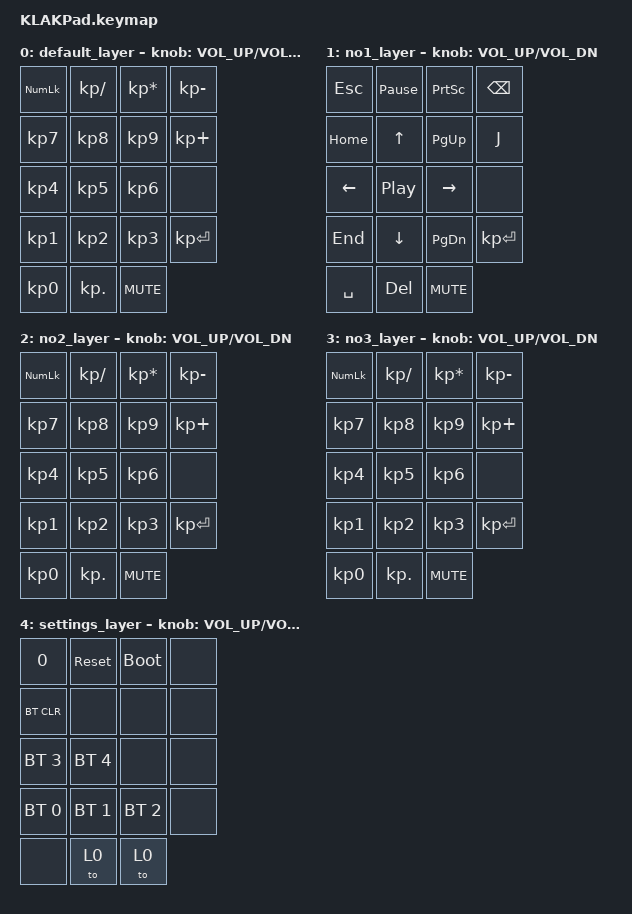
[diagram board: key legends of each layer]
/*
 * Copyright (c) 2022 The ZMK Contributors
 *
 * SPDX-License-Identifier: MIT
 */

#include <behaviors.dtsi>
#include <dt-bindings/zmk/keys.h>
#include <dt-bindings/zmk/bt.h>
#include <dt-bindings/zmk/outputs.h>

#define TIMEOUT 50

&encoder_1 {
    status = "okay";
};

/ {
    combos {
        compatible = "zmk,combos";
        combo_layer0 {
            timeout-ms = <TIMEOUT>;
            key-positions = <0 16>;
            bindings = <&to 0>;
        };
        combo_layer1 {
            timeout-ms = <TIMEOUT>;
            key-positions = <0 12 16>;
            bindings = <&to 1>;
        };
        combo_layer2 {
            timeout-ms = <TIMEOUT>;
            key-positions = <0 8 16>;
            bindings = <&to 2>;
        };
        combo_layer3 {
            timeout-ms = <TIMEOUT>;
            key-positions = <0 4 16>;
            bindings = <&to 3>;
        };
        combo_layer4 {  // Settings Layer
            timeout-ms = <TIMEOUT>;
            key-positions = <0 3 15 16>;
            bindings = <&to 4>;
        };
    };

    sensors {
        compatible = "zmk,keymap-sensors";
        sensors = <&encoder_1>;
        triggers-per-rotation = <20>;
    };

    keymap {
        compatible = "zmk,keymap";

//             0                1                 2                3
//             4                5                 6                7
//             8                9                 10               11 (NONE)
//             12               13                14               15
//             16               17                18

        default_layer {
            bindings = <
                &kp KP_NUMLOCK   &kp KP_SLASH     &kp KP_MULTIPLY  &kp KP_MINUS
                &kp KP_N7        &kp KP_N8        &kp KP_N9        &kp KP_PLUS
                &kp KP_N4        &kp KP_N5        &kp KP_N6        &none
                &kp KP_N1        &kp KP_N2        &kp KP_N3        &kp KP_ENTER
                &kp KP_N0        &kp KP_DOT       &kp C_MUTE
            >;
            sensor-bindings = <&inc_dec_kp C_VOL_UP C_VOL_DN>;
        };

        no1_layer {
            bindings = <
                &kp ESC          &kp PAUSE_BREAK  &kp PRINTSCREEN  &kp BACKSPACE
                &kp HOME         &kp UP_ARROW     &kp PG_UP        &kp J
                &kp LEFT_ARROW   &kp C_PLAY_PAUSE &kp RIGHT_ARROW  &none
                &kp END          &kp DOWN_ARROW   &kp PG_DN        &kp KP_ENTER
                &kp SPACE        &kp DELETE       &kp C_MUTE
            >;
            sensor-bindings = <&inc_dec_kp C_VOL_UP C_VOL_DN>;
        };

        no2_layer {
            bindings = <
                &kp KP_NUMLOCK   &kp KP_SLASH     &kp KP_MULTIPLY  &kp KP_MINUS
                &kp KP_N7        &kp KP_N8        &kp KP_N9        &kp KP_PLUS
                &kp KP_N4        &kp KP_N5        &kp KP_N6        &none
                &kp KP_N1        &kp KP_N2        &kp KP_N3        &kp KP_ENTER
                &kp KP_N0        &kp KP_DOT       &kp C_MUTE
            >;
            sensor-bindings = <&inc_dec_kp C_VOL_UP C_VOL_DN>;
        };
        
        no3_layer {
            bindings = <
                &kp KP_NUMLOCK   &kp KP_SLASH     &kp KP_MULTIPLY  &kp KP_MINUS
                &kp KP_N7        &kp KP_N8        &kp KP_N9        &kp KP_PLUS
                &kp KP_N4        &kp KP_N5        &kp KP_N6        &none
                &kp KP_N1        &kp KP_N2        &kp KP_N3        &kp KP_ENTER
                &kp KP_N0        &kp KP_DOT       &kp C_MUTE
            >;
            sensor-bindings = <&inc_dec_kp C_VOL_UP C_VOL_DN>;
        };

        settings_layer {
            bindings = <
                &kp NUMBER_0     &sys_reset       &bootloader      &none
                &bt BT_CLR       &none            &none            &none
                &bt BT_SEL 3     &bt BT_SEL 4     &none            &none
                &bt BT_SEL 0     &bt BT_SEL 1     &bt BT_SEL 2     &none
                &none            &to 0            &to 0
            >;
            sensor-bindings = <&inc_dec_kp C_VOL_UP C_VOL_DN>;
        };
    };
};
